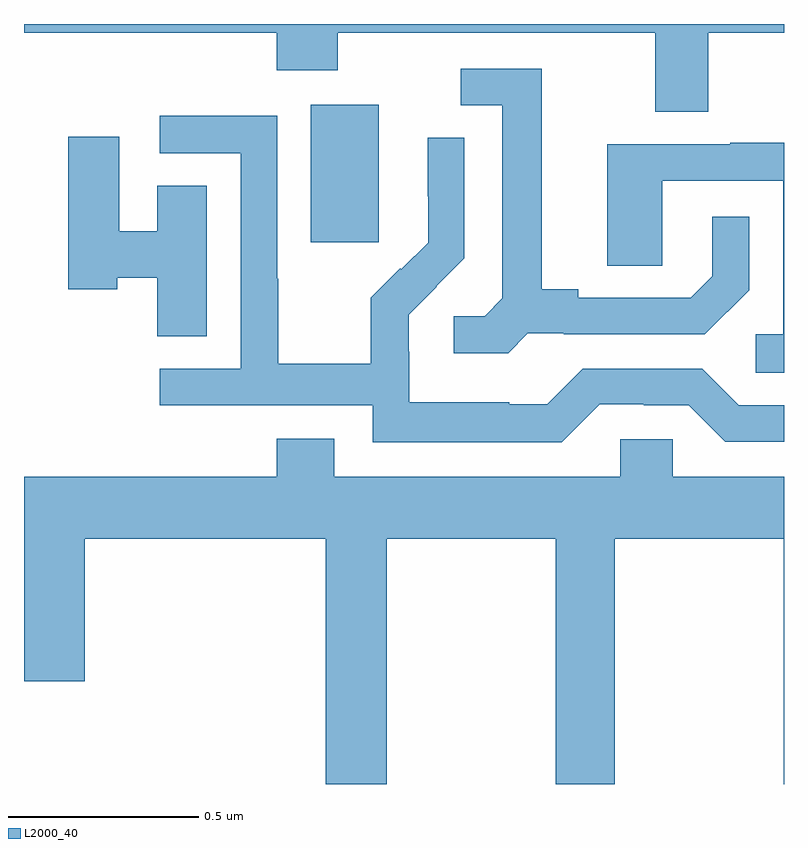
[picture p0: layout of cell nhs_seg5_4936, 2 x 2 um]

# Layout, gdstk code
import gdstk
lib = gdstk.Library(unit=1e-6, precision=1e-09)
def R(c, l, rs):  # rectangles x0, y0, x1, y1
    for r in rs: c.add(gdstk.rectangle(r[:2], r[2:], *l))
def P(c, l, *ps):  # polygons
    for p in ps: c.add(gdstk.Polygon(p, *l))
L2000_40 = (2000, 40)

nhs_seg5_4936 = lib.new_cell('nhs_seg5_4936')
R(nhs_seg5_4936, L2000_40, [(177.755,840.225,177.934,840.586)])
P(nhs_seg5_4936, L2000_40, [(178.801,840.776),(179,840.776),(179,840.799),(177,840.799),(177,840.776),(177.665,840.776),(177.665,840.677),(177.825,840.677),(177.825,840.776),(178.661,840.776),(178.661,840.568),(178.801,840.568)],
  [(178.326,839.985),(178.42,839.985),(178.42,839.982),(178.792,839.982),(178.908,840.098),(178.908,840.292),(178.811,840.292),(178.811,840.135),(178.754,840.078),(178.459,840.078),(178.459,840.101),(178.363,840.101),(178.363,840.681),(178.149,840.681),(178.149,840.585),(178.259,840.585),(178.259,840.077),(178.212,840.03),(178.131,840.03),(178.131,839.933),(178.274,839.933)],
  [(178.515,839.799),(178.631,839.799),(178.631,839.796),(178.749,839.796),(178.845,839.7),(179,839.7),(179,839.796),(178.881,839.796),(178.785,839.892),(178.47,839.892),(178.377,839.799),(178.277,839.799),(178.277,839.803),(178.014,839.803),(178.014,839.937),(178.012,839.937),(178.012,840.034),(178.086,840.108),(178.085,840.109),(178.158,840.182),(178.158,840.5),(178.062,840.5),(178.062,840.346),(178.064,840.346),(178.064,840.224),(177.993,840.153),(177.99,840.156),(177.913,840.079),(177.913,839.905),(177.669,839.905),(177.669,840.128),(177.666,840.128),(177.666,840.558),(177.357,840.558),(177.357,840.459),(177.57,840.459),(177.57,839.892),(177.357,839.892),(177.357,839.796),(177.918,839.796),(177.918,839.699),(178.415,839.699)],
  [(177.481,840.374),(177.35,840.374),(177.35,840.253),(177.25,840.253),(177.25,840.502),(177.116,840.502),(177.116,840.101),(177.246,840.101),(177.246,840.131),(177.35,840.131),(177.35,839.977),(177.481,839.977)],
  [(179,840.487),(178.859,840.487),(178.859,840.483),(178.535,840.483),(178.535,840.163),(178.68,840.163),(178.68,840.387),(178.998,840.387),(178.998,839.982),(178.926,839.982),(178.926,839.881),(179,839.881)],
  [(177.954,839.444),(178.399,839.444),(178.399,838.799),(178.554,838.799),(178.554,839.444),(178.999,839.444),(178.999,838.799),(179,838.799),(179,839.608),(178.707,839.608),(178.707,839.706),(178.569,839.706),(178.569,839.608),(177.817,839.608),(177.817,839.707),(177.665,839.707),(177.665,839.608),(177,839.608),(177,839.07),(177.16,839.07),(177.16,839.444),(177.794,839.444),(177.794,838.799),(177.954,838.799)])

lib.write_gds('nhs_seg5_4936.gds')
